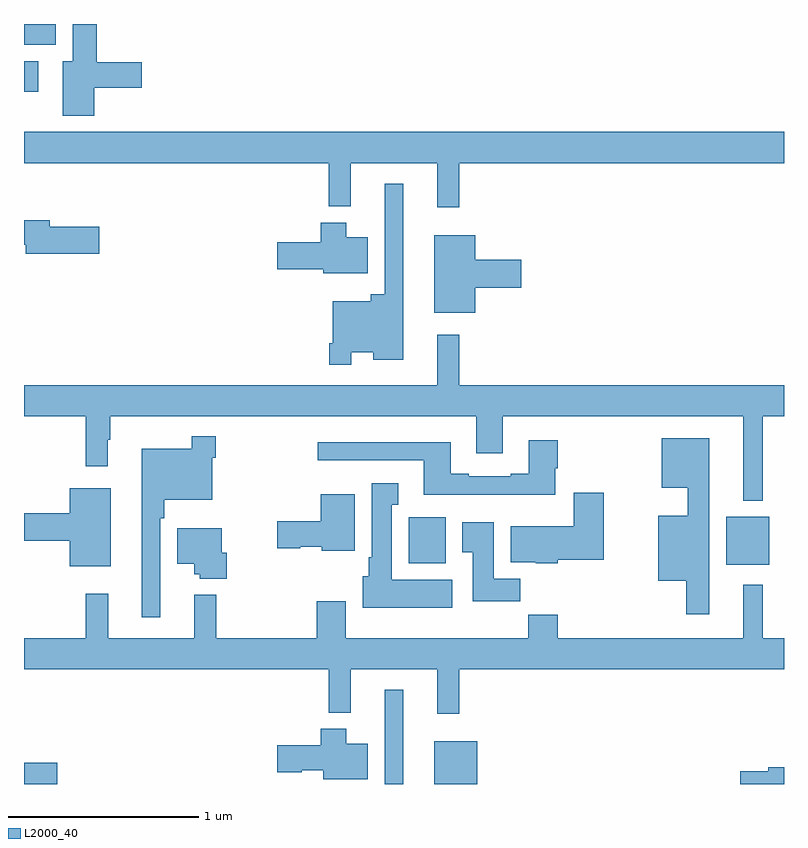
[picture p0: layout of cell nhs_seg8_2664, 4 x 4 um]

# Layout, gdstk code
import gdstk
lib = gdstk.Library(unit=1e-6, precision=1e-09)
def R(c, l, rs):  # rectangles x0, y0, x1, y1
    for r in rs: c.add(gdstk.rectangle(r[:2], r[2:], *l))
def P(c, l, *ps):  # polygons
    for p in ps: c.add(gdstk.Polygon(p, *l))
L2000_40 = (2000, 40)

nhs_seg8_2664 = lib.new_cell('nhs_seg8_2664')
R(nhs_seg8_2664, L2000_40, [(279,1111.9,279.175,1112.013), (280.899,1111.9,280.996,1112.395), (281.159,1111.9,281.386,1112.125), (282.695,1113.053,282.922,1113.307), (281.024,1113.062,281.221,1113.304), (279,1115.544,279.076,1115.703), (279,1115.792,279.166,1115.9)])
P(nhs_seg8_2664, L2000_40, [(279.37,1115.564),(279.619,1115.564),(279.619,1115.699),(279.383,1115.699),(279.383,1115.9),(279.257,1115.9),(279.257,1115.704),(279.203,1115.704),(279.203,1115.418),(279.37,1115.418)],
  [(281.291,1115.168),(283,1115.168),(283,1115.332),(279,1115.332),(279,1115.168),(280.603,1115.168),(280.603,1114.94),(280.721,1114.94),(280.721,1115.168),(281.174,1115.168),(281.174,1114.935),(281.291,1114.935)],
  [(280.722,1114.172),(280.838,1114.172),(280.838,1114.133),(280.996,1114.133),(280.996,1115.059),(280.899,1115.059),(280.899,1114.477),(280.826,1114.477),(280.826,1114.441),(280.626,1114.441),(280.626,1114.219),(280.606,1114.219),(280.606,1114.107),(280.722,1114.107)],
  [(279.397,1114.833),(279.136,1114.833),(279.136,1114.867),(279,1114.867),(279,1114.738),(279.008,1114.738),(279.008,1114.691),(279.397,1114.691)],
  [(280.81,1114.777),(280.696,1114.777),(280.696,1114.855),(280.562,1114.855),(280.562,1114.752),(280.332,1114.752),(280.332,1114.61),(280.574,1114.61),(280.574,1114.589),(280.81,1114.589)],
  [(281.374,1114.511),(281.617,1114.511),(281.617,1114.658),(281.374,1114.658),(281.374,1114.789),(281.159,1114.789),(281.159,1114.379),(281.374,1114.379)],
  [(282.889,1113.836),(283,1113.836),(283,1114),(281.291,1114),(281.291,1114.264),(281.174,1114.264),(281.174,1114),(279,1114),(279,1113.836),(279.325,1113.836),(279.325,1113.573),(279.442,1113.573),(279.442,1113.713),(279.454,1113.713),(279.454,1113.836),(281.381,1113.836),(281.381,1113.642),(281.521,1113.642),(281.521,1113.836),(282.785,1113.836),(282.785,1113.392),(282.889,1113.392)],
  [(279.717,1113.299),(279.737,1113.299),(279.737,1113.395),(279.99,1113.395),(279.99,1113.617),(280.01,1113.617),(280.01,1113.73),(279.882,1113.73),(279.882,1113.664),(279.62,1113.664),(279.62,1112.778),(279.717,1112.778)],
  [(282.607,1113.721),(282.356,1113.721),(282.356,1113.458),(282.493,1113.458),(282.493,1113.313),(282.338,1113.313),(282.338,1112.969),(282.486,1112.969),(282.486,1112.793),(282.607,1112.793)],
  [(281.797,1113.561),(281.81,1113.561),(281.81,1113.709),(281.657,1113.709),(281.657,1113.532),(281.561,1113.532),(281.561,1113.519),(281.341,1113.519),(281.341,1113.532),(281.245,1113.532),(281.245,1113.7),(280.545,1113.7),(280.545,1113.603),(281.105,1113.603),(281.105,1113.422),(281.797,1113.422)],
  [(281.254,1112.974),(280.936,1112.974),(280.936,1113.371),(280.969,1113.371),(280.969,1113.484),(280.829,1113.484),(280.829,1113.094),(280.814,1113.094),(280.814,1112.994),(280.784,1112.994),(280.784,1112.828),(281.254,1112.828)],
  [(279.457,1113.457),(279.242,1113.457),(279.242,1113.326),(279,1113.326),(279,1113.179),(279.242,1113.179),(279.242,1113.047),(279.457,1113.047)],
  [(281.808,1113.08),(282.052,1113.08),(282.052,1113.433),(281.894,1113.433),(281.894,1113.256),(281.561,1113.256),(281.561,1113.068),(281.694,1113.068),(281.694,1113.062),(281.808,1113.062)],
  [(280.741,1113.424),(280.562,1113.424),(280.562,1113.284),(280.332,1113.284),(280.332,1113.142),(280.455,1113.142),(280.455,1113.149),(280.566,1113.149),(280.566,1113.128),(280.741,1113.128)],
  [(281.612,1112.98),(281.473,1112.98),(281.473,1113.277),(281.306,1113.277),(281.306,1113.121),(281.363,1113.121),(281.363,1112.862),(281.612,1112.862)],
  [(280.067,1113.117),(280.042,1113.117),(280.042,1113.247),(279.806,1113.247),(279.806,1113.059),(279.896,1113.059),(279.896,1113.003),(279.924,1113.003),(279.924,1112.981),(280.067,1112.981)],
  [(281.291,1112.504),(283,1112.504),(283,1112.668),(282.889,1112.668),(282.889,1112.95),(282.785,1112.95),(282.785,1112.668),(281.81,1112.668),(281.81,1112.792),(281.653,1112.792),(281.653,1112.668),(280.693,1112.668),(280.693,1112.863),(280.541,1112.863),(280.541,1112.668),(280.013,1112.668),(280.013,1112.896),(279.896,1112.896),(279.896,1112.668),(279.443,1112.668),(279.443,1112.902),(279.325,1112.902),(279.325,1112.668),(279,1112.668),(279,1112.504),(280.603,1112.504),(280.603,1112.276),(280.721,1112.276),(280.721,1112.504),(281.174,1112.504),(281.174,1112.271),(281.291,1112.271)],
  [(280.81,1112.113),(280.696,1112.113),(280.696,1112.191),(280.562,1112.191),(280.562,1112.103),(280.332,1112.103),(280.332,1111.961),(280.461,1111.961),(280.461,1111.973),(280.574,1111.973),(280.574,1111.925),(280.81,1111.925)],
  [(283,1111.988),(282.916,1111.988),(282.916,1111.968),(282.77,1111.968),(282.77,1111.9),(283,1111.9)])

lib.write_gds('nhs_seg8_2664.gds')
